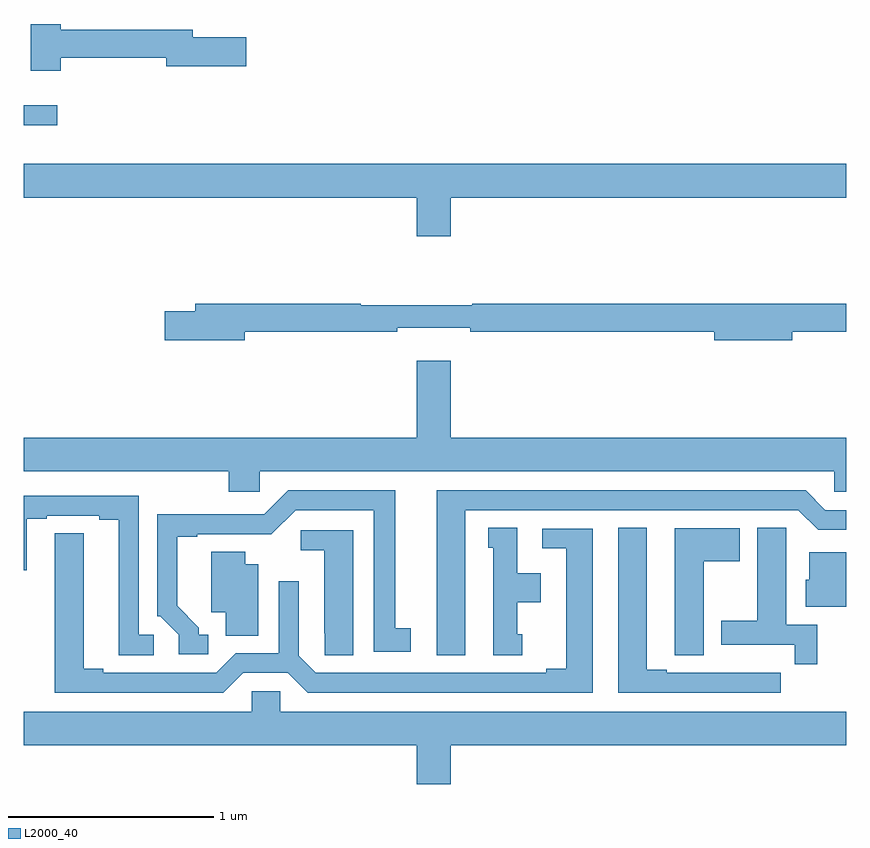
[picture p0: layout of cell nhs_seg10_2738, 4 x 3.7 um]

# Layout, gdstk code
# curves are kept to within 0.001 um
import gdstk
lib = gdstk.Library(unit=1e-6, precision=1e-09)
def R(c, l, rs):  # rectangles x0, y0, x1, y1
    for r in rs: c.add(gdstk.rectangle(r[:2], r[2:], *l))
def P(c, l, *ps):  # polygons
    for p in ps: c.add(gdstk.Polygon(p, *l))
L2000_40 = (2000, 40)

nhs_seg10_2738 = lib.new_cell('nhs_seg10_2738')
R(nhs_seg10_2738, L2000_40, [(259,1294.008,259.162,1294.104)])
P(nhs_seg10_2738, L2000_40, [(259.181,1294.336),(259.694,1294.336),(259.694,1294.294),(260.083,1294.294),(260.083,1294.436),(259.822,1294.436),(259.822,1294.472),(259.181,1294.472),(259.181,1294.5),(259.034,1294.5),(259.034,1294.272),(259.181,1294.272)],
  [(261.076,1293.656),(263,1293.656),(263,1293.82),(259,1293.82),(259,1293.656),(260.912,1293.656),(260.912,1293.468),(261.076,1293.468)],
  [(260.074,1293.004),(260.816,1293.004),(260.816,1293.023),(261.172,1293.023),(261.172,1293.004),(262.358,1293.004),(262.358,1292.962),(262.738,1292.962),(262.738,1293.004),(263,1293.004),(263,1293.14),(261.18,1293.14),(261.18,1293.133),(260.639,1293.133),(260.639,1293.14),(259.835,1293.14),(259.835,1293.104),(259.686,1293.104),(259.686,1292.962),(260.074,1292.962)],
  [(260.148,1292.324),(262.941,1292.324),(262.941,1292.226),(263,1292.226),(263,1292.488),(261.076,1292.488),(261.076,1292.863),(260.912,1292.863),(260.912,1292.488),(259,1292.488),(259,1292.324),(259.997,1292.324),(259.997,1292.226),(260.148,1292.226)],
  [(261.148,1292.136),(262.767,1292.136),(262.863,1292.04),(263,1292.04),(263,1292.136),(262.899,1292.136),(262.803,1292.232),(261.008,1292.232),(261.008,1291.431),(261.148,1291.431)],
  [(259.897,1291.53),(259.852,1291.53),(259.852,1291.565),(259.747,1291.67),(259.747,1292.007),(259.843,1292.007),(259.843,1292.019),(260.204,1292.018),(260.322,1292.136),(260.702,1292.136),(260.702,1291.446),(260.881,1291.446),(260.881,1291.562),(260.806,1291.562),(260.806,1292.232),(260.286,1292.232),(260.169,1292.115),(259.913,1292.115),(259.913,1292.117),(259.65,1292.117),(259.65,1291.62),(259.665,1291.62),(259.755,1291.53),(259.755,1291.434),(259.897,1291.434)],
  [(259.633,1291.53),(259.56,1291.53),(259.56,1292.205),(259,1292.205),(259,1291.843),(259.015,1291.843),(259.015,1292.094),(259.111,1292.094),(259.111,1292.109),(259.367,1292.109),(259.367,1292.089),(259.463,1292.089),(259.463,1291.429),(259.633,1291.429)],
  [(261.424,1291.533),(261.4,1291.533),(261.4,1291.688),(261.514,1291.688),(261.514,1291.828),(261.4,1291.828),(261.4,1292.051),(261.26,1292.051),(261.26,1291.953),(261.284,1291.953),(261.284,1291.431),(261.424,1291.431)],
  [(262.681,1291.344),(262.568,1291.344),(262.568,1291.345),(262.402,1291.345),(262.402,1291.344),(262.126,1291.344),(262.126,1291.359),(262.03,1291.359),(262.03,1292.051),(261.89,1292.051),(261.89,1291.248),(262.681,1291.248)],
  [(262.859,1291.578),(262.708,1291.578),(262.708,1291.94),(262.707,1291.94),(262.707,1292.051),(262.568,1292.051),(262.568,1291.599),(262.391,1291.599),(262.391,1291.482),(262.75,1291.482),(262.75,1291.386),(262.859,1291.386)],
  [(262.306,1291.888),(262.483,1291.888),(262.483,1292.047),(262.166,1292.047),(262.166,1291.537),(262.167,1291.537),(262.167,1291.429),(262.306,1291.429)],
  [(260.067,1291.344),(260.285,1291.344),(260.381,1291.248),(261.766,1291.248),(261.766,1292.046),(261.522,1292.046),(261.522,1291.95),(261.638,1291.95),(261.638,1291.364),(261.542,1291.364),(261.542,1291.344),(260.421,1291.344),(260.337,1291.428),(260.337,1291.789),(260.241,1291.789),(260.241,1291.44),(260.031,1291.44),(259.935,1291.344),(259.387,1291.344),(259.387,1291.364),(259.291,1291.364),(259.291,1292.024),(259.152,1292.024),(259.151,1291.248),(259.971,1291.248)],
  [(260.602,1292.037),(260.346,1292.037),(260.346,1291.94),(260.462,1291.94),(260.462,1291.537),(260.463,1291.537),(260.463,1291.429),(260.602,1291.429)],
  [(260.14,1291.873),(260.077,1291.873),(260.077,1291.934),(259.913,1291.934),(259.913,1291.64),(259.982,1291.64),(259.982,1291.525),(260.14,1291.525)],
  [(263,1291.93),(262.82,1291.93),(262.82,1291.797),(262.802,1291.797),(262.802,1291.667),(263,1291.667)],
  [(261.076,1290.992),(263,1290.992),(263,1291.156),(260.247,1291.156),(260.247,1291.254),(260.109,1291.254),(260.109,1291.156),(259,1291.156),(259,1290.992),(260.912,1290.992),(260.912,1290.804),(261.076,1290.804)])

lib.write_gds('nhs_seg10_2738.gds')
